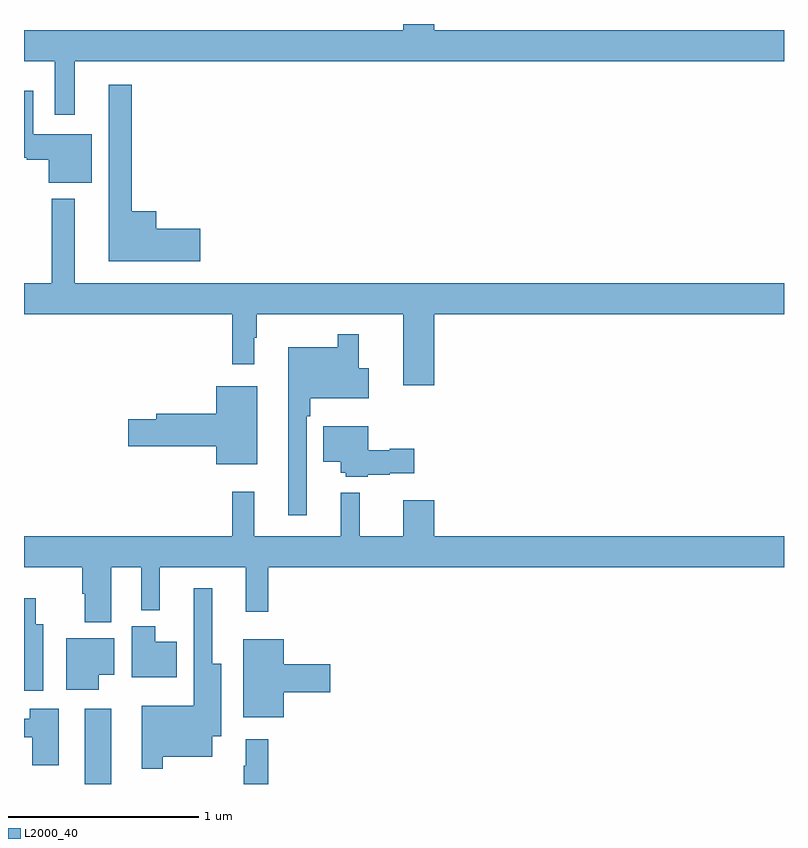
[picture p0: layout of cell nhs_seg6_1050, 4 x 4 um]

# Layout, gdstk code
import gdstk
lib = gdstk.Library(unit=1e-6, precision=1e-09)
def R(c, l, rs):  # rectangles x0, y0, x1, y1
    for r in rs: c.add(gdstk.rectangle(r[:2], r[2:], *l))
def P(c, l, *ps):  # polygons
    for p in ps: c.add(gdstk.Polygon(p, *l))
L2000_40 = (2000, 40)

nhs_seg6_1050 = lib.new_cell('nhs_seg6_1050')
R(nhs_seg6_1050, L2000_40, [(175.319,975.5,175.459,975.895)])
P(nhs_seg6_1050, L2000_40, [(175.267,979.304),(179,979.304),(179,979.468),(177.16,979.468),(177.16,979.5),(176.996,979.5),(176.996,979.468),(175,979.468),(175,979.304),(175.163,979.304),(175.163,979.023),(175.267,979.023)],
  [(175.927,978.422),(175.696,978.422),(175.696,978.514),(175.567,978.514),(175.567,979.18),(175.445,979.18),(175.445,978.251),(175.927,978.251)],
  [(175.357,978.919),(175.048,978.919),(175.048,979.15),(175,979.15),(175,978.797),(175.014,978.797),(175.014,978.785),(175.13,978.785),(175.13,978.665),(175.357,978.665)],
  [(177.16,977.972),(179,977.972),(179,978.136),(175.267,978.136),(175.267,978.58),(175.146,978.58),(175.146,978.136),(175,978.136),(175,977.972),(176.095,977.972),(176.095,977.709),(176.212,977.709),(176.212,977.849),(176.224,977.849),(176.224,977.972),(176.996,977.972),(176.996,977.598),(177.16,977.598)],
  [(176.487,977.435),(176.507,977.435),(176.507,977.531),(176.815,977.531),(176.815,977.689),(176.763,977.689),(176.763,977.866),(176.652,977.866),(176.652,977.8),(176.39,977.8),(176.39,976.914),(176.487,976.914)],
  [(176.227,977.593),(176.012,977.593),(176.012,977.45),(175.697,977.45),(175.697,977.42),(175.548,977.42),(175.548,977.278),(176.012,977.278),(176.012,977.183),(176.227,977.183)],
  [(176.808,977.128),(176.925,977.128),(176.925,977.135),(177.055,977.135),(177.055,977.265),(176.925,977.265),(176.925,977.257),(176.812,977.257),(176.812,977.383),(176.576,977.383),(176.576,977.195),(176.666,977.195),(176.666,977.139),(176.694,977.139),(176.694,977.117),(176.808,977.117)],
  [(176.996,976.993),(176.996,976.804),(176.766,976.804),(176.766,977.032),(176.666,977.032),(176.666,976.804),(176.213,976.804),(176.213,977.038),(176.095,977.038),(176.095,976.804),(175,976.804),(175,976.64),(175.307,976.64),(175.307,976.502),(175.319,976.502),(175.319,976.352),(175.459,976.352),(175.459,976.64),(175.616,976.64),(175.616,976.415),(175.715,976.415),(175.715,976.64),(176.168,976.64),(176.168,976.407),(176.285,976.407),(176.285,976.64),(179,976.64),(179,976.804),(177.16,976.804),(177.16,976.993)],
  [(175.729,975.644),(175.99,975.644),(175.99,975.752),(176.038,975.752),(176.038,976.132),(175.99,976.132),(175.99,976.531),(175.893,976.531),(175.893,975.913),(175.62,975.913),(175.62,975.579),(175.729,975.579)],
  [(175.102,976.342),(175.063,976.342),(175.063,976.477),(175,976.477),(175,975.99),(175.102,975.99)],
  [(175.804,976.249),(175.69,976.249),(175.69,976.33),(175.568,976.33),(175.568,976.061),(175.804,976.061)],
  [(175.393,976.076),(175.474,976.076),(175.474,976.267),(175.223,976.267),(175.223,975.995),(175.393,975.995)],
  [(176.368,975.983),(176.611,975.983),(176.611,976.13),(176.368,976.13),(176.368,976.261),(176.153,976.261),(176.153,975.851),(176.368,975.851)],
  [(175.183,975.895),(175.031,975.895),(175.031,975.843),(175,975.843),(175,975.747),(175.043,975.747),(175.043,975.6),(175.183,975.6)],
  [(176.285,975.736),(176.168,975.736),(176.168,975.596),(176.157,975.596),(176.157,975.5),(176.285,975.5)])

lib.write_gds('nhs_seg6_1050.gds')
